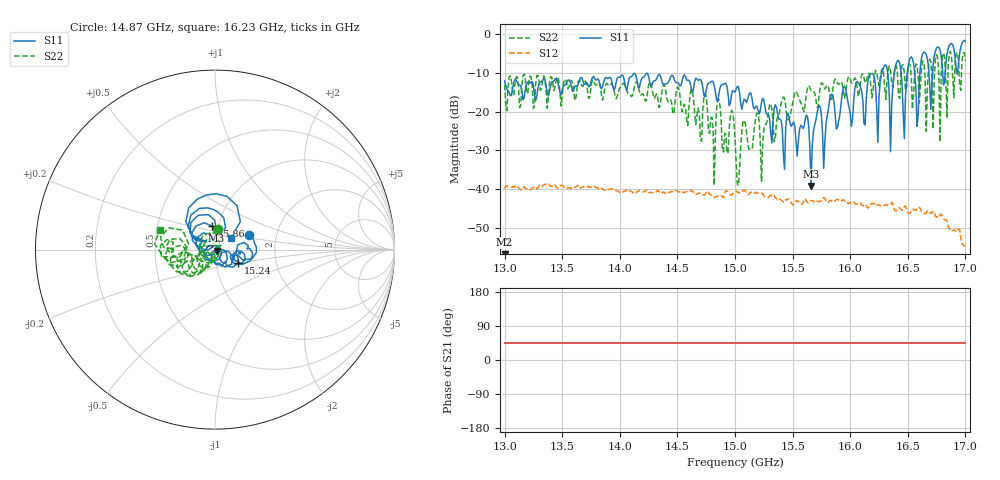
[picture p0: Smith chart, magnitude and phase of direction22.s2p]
!Keysight Technologies,P9374A,MY57211810,A.19.30.04
!Date: Friday, May 02, 2025 09:02:27
!Correction: S11(Off)
!S21(Off)
!S12(Off)
!S22(Off)
!S2P File: Measurements: S11, S21, S12, S22:
# Hz S  dB  R 50
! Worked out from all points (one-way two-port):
!   401 points, 13 GHz to 17 GHz, reference 50 ohm
!   highest |S21| = - dB at 13 GHz (marker M1); lowest = - dB at 13 GHz (marker M2)
!   lowest |S11| = -39.2 dB at 15.66 GHz (marker M3), VSWR 1.02, Z = 50.9 - j0.619 ohm
!   |S11| at or under -10 dB: start of sweep to 16.27 GHz; 16.32529 GHz to 16.38344 GHz (58.16 MHz wide, 0.356 % of centre); 16.44182 GHz to 16.49553 GHz (53.71 MHz wide, 0.326 % of centre) (the widest 3 of 7)
!   |S22| runs from -39.1 to -4.4 dB; largest |S21 - S12| = 0.012
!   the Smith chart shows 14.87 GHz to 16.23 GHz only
!   S11 on the Smith chart (normalised r, x): 14.87 GHz: 1.44, +0.24; 15.24 GHz: 1.28, -0.19; 15.86 GHz: 0.94, +0.25; 16.23 GHz: 1.18, +0.15
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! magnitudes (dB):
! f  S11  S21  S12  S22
! 13 GHz  -12.1  -  -39.9  -13.1
! 13.67 GHz  -11.2  -  -39.5  -13.3
! 14.34 GHz  -10.4  -  -40.7  -19.0
! 14.87 GHz  -13.9  -  -41.7  -18.6
! 15 GHz  -15.0  -  -40.6  -26.9
! 15.24 GHz  -16.5  -  -41.2  -28.5
! 15.3 GHz  -21.9  -  -41.9  -18.3
! 15.66 GHz  -39.2  -  -43.1  -14.6
! 15.67 GHz  -29.1  -  -43.0  -15.0
! 15.86 GHz  -17.6  -  -43.3  -12.2
! 16.12 GHz  -23.2  -  -44.0  -11.3
! 16.18 GHz  -10.2  -  -44.0  -13.5
! 16.23 GHz  -19.2  -  -44.1  -9.8
! 16.3 GHz  -8.0  -  -44.1  -13.9
! 16.34 GHz  -16.3  -  -44.1  -8.3
! 16.41 GHz  -6.9  -  -45.1  -10.2
! 16.47 GHz  -27.0  -  -44.5  -9.9
! 16.52 GHz  -6.2  -  -46.3  -7.9
! 16.58 GHz  -23.8  -  -45.2  -7.9
! 16.64 GHz  -4.6  -  -46.3  -7.5
! 16.7 GHz  -19.4  -  -46.0  -7.2
! 17 GHz  -1.8  -  -54.8  -6.8
